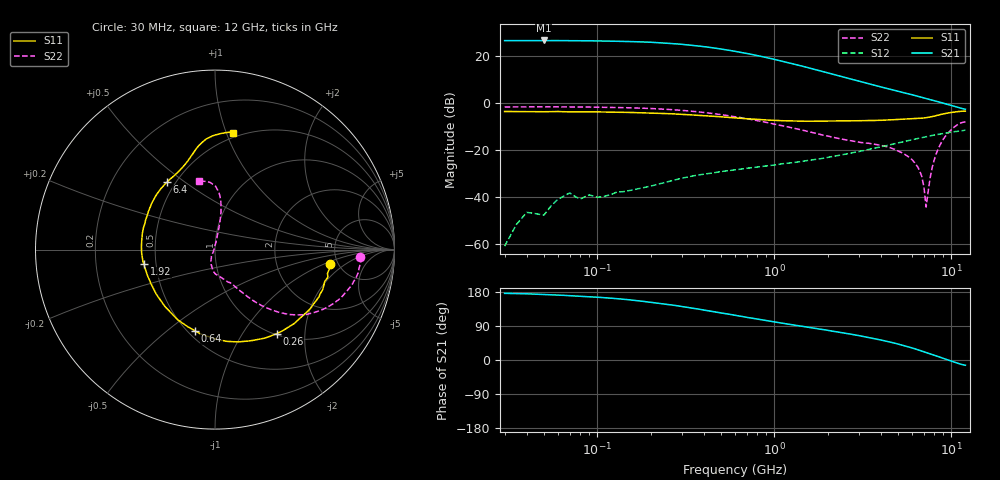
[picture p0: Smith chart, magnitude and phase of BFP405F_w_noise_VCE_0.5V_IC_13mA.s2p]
! Infineon Technologies  Discrete & RF Semiconductors
! BFP405F
! VCE =  0.5 V,  IC =  13 mA
! Common Emitter S-Parameters:  Nov 2015
# GHz  S  MA  R  50
!  f  S11  S21  S12  S22
! GHz  MAG  ANG  MAG  ANG  MAG  ANG  MAG  ANG
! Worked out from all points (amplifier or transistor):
!   239 points, 30 MHz to 12 GHz, reference 50 ohm
!   highest |S21| = 26.4 dB at 50 MHz (marker M1)
!   |S21| within 3 dB of that: start of sweep to 438.6 MHz
!   unconditionally stable (mu >= 1): start of sweep to 53.9 MHz; 1.037 GHz to end of sweep
!   at 300 MHz: K = 0.45, MSG = 28.4 dB, |S12| = -32.1 dB
!   at 1.88 GHz: K = 1.40, MAG = 14.6 dB, |S12| = -23.6 dB
!   at 12 GHz: K = 1.61, MAG = -0.2 dB, |S12| = -11.6 dB
!   lowest NFmin = 1.86 dB at 450 MHz
!   S11 on the Smith chart (normalised r, x): 30 MHz: 4.34, -1.18; 260 MHz: 1.02, -1.44; 640 MHz: 0.54, -0.63; 1.92 GHz: 0.43, -0.08; 6.4 GHz: 0.45, +0.43; 12 GHz: 0.46, +1.06
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0.03  0.6478 -7.0  20.67 175.9  0.0009 122.9  0.8097 -2.9
0.04  0.6463 -9.3  20.73 174.7  0.0047 69.5  0.8148 -4.0
0.05  0.6408 -12.0  20.86 172.8  0.0041 67.0  0.8152 -5.1
0.085  0.639 -19.3  20.55 167.7  0.01 90.8  0.8088 -9.0
0.15  0.6211 -33.3  19.86 159.1  0.0135 75.8  0.7786 -16.0
0.24  0.5883 -50.3  18.35 147.8  0.0201 67.7  0.7259 -24.4
0.26  0.5811 -53.7  17.99 145.5  0.0218 66.4  0.7129 -26.0
0.3  0.5665 -60.5  17.31 141.1  0.0249 67.5  0.6858 -29.2
0.4  0.5302 -75.9  15.44 131.8  0.0304 60.4  0.619 -35.9
0.6  0.4756 -100.1  12.28 117.8  0.0374 53.9  0.5018 -44.3
0.64  0.466 -103.8  11.78 115.8  0.0386 53.1  0.4832 -45.4
0.8  0.443 -117.9  9.966 108.0  0.0429 50.4  0.4148 -49.7
1  0.4219 -131.6  8.288 100.5  0.0473 48.9  0.3521 -53.4
1.3  0.4058 -147.6  6.54 91.9  0.0537 49.2  0.2839 -57.5
1.64  0.403 -160.2  5.243 84.7  0.0609 49.8  0.2326 -61.7
1.92  0.4042 -168.4  4.479 79.7  0.0668 49.8  0.2006 -66.0
2.9  0.4123 171.3  2.96 65.6  0.0895 49.3  0.149 -81.8
4.5  0.4305 147.8  1.926 47.4  0.1279 44.7  0.1113 -97.1
6.4  0.4605 125.4  1.379 27.6  0.1719 34.9  0.0454 -117.1
7.2  0.4795 115.1  1.227 19.9  0.1885 30.5  0.0061 177.5
8.4  0.5413 103.9  1.046 9.2  0.2122 23.2  0.1015 80.0
12  0.6597 81.2  0.723 -13.9  0.2623 6.1  0.3924 103.1
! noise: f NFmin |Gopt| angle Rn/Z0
0.45  1.86  0.14  4  0.33
0.9  1.88  0.13  7  0.32
1.5  1.93  0.11  11  0.22
1.9  1.96  0.1  17  0.27
2.4  2.11  0.08  24  0.33
3  2.19  0.07  32  0.36
3.5  2.24  0.04  37  0.47
4.5  2.43  0.04  -69  0.18
5.5  2.69  0.13  -87  0.06
